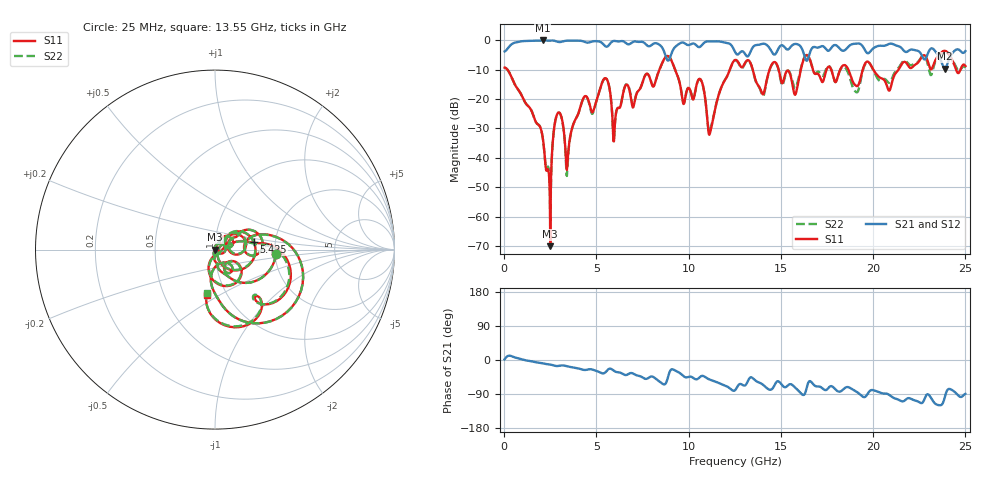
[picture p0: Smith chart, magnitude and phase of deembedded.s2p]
! R_s4_lshape_n0: 3D, de-embedded (matched 2x-thru)
# Hz S RI R 50
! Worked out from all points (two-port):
!   1000 points, 25 MHz to 25 GHz, reference 50 ohm
!   highest |S21| = -0.12 dB at 2.1 GHz (marker M1); lowest = -9.7 dB at 23.88 GHz (marker M2)
!   |S21| within 3 dB of the highest: 160.2 MHz to 8.615 GHz (8.455 GHz wide, 193 % of centre); 9.174 GHz to 12.45 GHz (3.272 GHz wide, 30.3 % of centre) (the widest 2 of 11)
!   lowest |S11| = -70.0 dB at 2.5 GHz (marker M3), VSWR 1.00, Z = 50 - j0.0269 ohm
!   |S11| at or under -10 dB: 173.6 MHz to 8.42 GHz (8.246 GHz wide, 192 % of centre); 9.261 GHz to 12.23 GHz (2.974 GHz wide, 27.7 % of centre); 20.01 GHz to 21.38 GHz (1.374 GHz wide, 6.64 % of centre) (the widest 3 of 9)
!   |S22| runs from -62.8 to -3.6 dB; largest |S21 - S12| = 1.8e-06
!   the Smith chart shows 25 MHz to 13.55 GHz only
!   S11 on the Smith chart (normalised r, x): 25 MHz: 2.03, -0.10; 5.425 GHz: 1.55, +0.13; 13.55 GHz: 0.81, -0.43
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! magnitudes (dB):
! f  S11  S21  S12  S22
! 25 MHz  -9.3  -3.9  -3.9  -9.3
! 2.1 GHz  -33.5  -0.1  -0.1  -33.5
! 2.5 GHz  -70.0  -0.2  -0.2  -62.8
! 2.875 GHz  -25.1  -0.5  -0.5  -25.2
! 3.425 GHz  -42.5  -0.2  -0.2  -43.7
! 4.2 GHz  -21.3  -0.3  -0.3  -21.3
! 5.425 GHz  -13.1  -1.7  -1.7  -13.2
! 5.975 GHz  -31.4  -0.3  -0.3  -31.3
! 6.6 GHz  -15.2  -1.0  -1.0  -15.1
! 8.35 GHz  -11.1  -1.3  -1.3  -11.1
! 8.95 GHz  -5.7  -6.5  -6.5  -5.7
! 9.75 GHz  -21.6  -1.0  -1.0  -21.5
! 10.65 GHz  -13.4  -2.1  -2.1  -13.5
! 11.18 GHz  -31.2  -0.5  -0.5  -30.5
! 12.53 GHz  -6.7  -4.1  -4.1  -6.9
! 13.55 GHz  -11.9  -2.0  -2.0  -12.1
! 14.68 GHz  -7.5  -4.9  -4.9  -7.6
! 15.78 GHz  -18.6  -1.3  -1.3  -16.3
! 16.68 GHz  -8.7  -2.8  -2.8  -8.7
! 20.85 GHz  -17.1  -1.3  -1.3  -14.5
! 23.88 GHz  -3.6  -9.7  -9.7  -3.6
! 25 GHz  -8.8  -3.7  -3.7  -9.4
